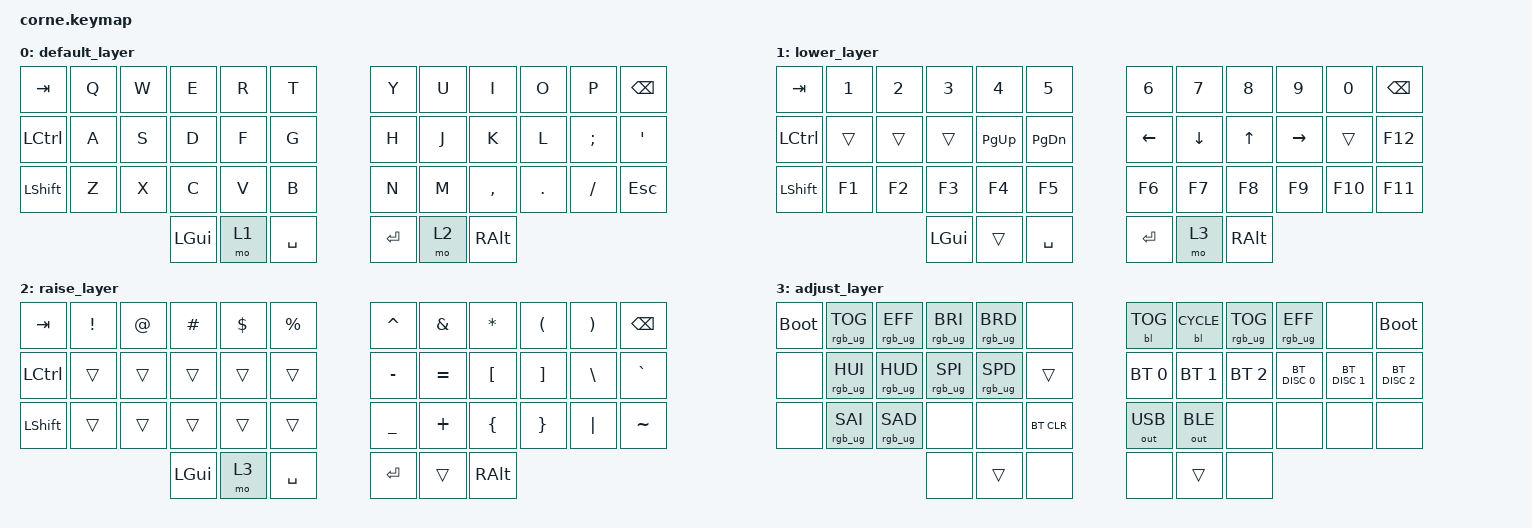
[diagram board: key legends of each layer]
#include <behaviors.dtsi>
#include <dt-bindings/zmk/backlight.h>
#include <dt-bindings/zmk/bt.h>
#include <dt-bindings/zmk/keys.h>
#include <dt-bindings/zmk/outputs.h>
#include <dt-bindings/zmk/rgb.h>

/* #include <dt-bindings/zmk/rgb.h> */  /* uncomment when WS2812B LEDs are installed */
/*
 * Layer index reference:
 *   0 = Default (QWERTY)
 *   1 = Lower   (numbers, arrows)
 *   2 = Raise   (symbols)
 *   3 = Adjust  (BT profiles, RGB, bootloader)
 *       → Reached by holding Lower + Raise simultaneously
 */

/ {
    keymap {
        compatible = "zmk,keymap";

        // ── Layer 0: QWERTY ────────────────────────────────────────

        default_layer {
            bindings = <
&kp TAB    &kp Q  &kp W  &kp E     &kp R  &kp T        &kp Y    &kp U  &kp I      &kp O    &kp P     &kp BSPC
&kp LCTRL  &kp A  &kp S  &kp D     &kp F  &kp G        &kp H    &kp J  &kp K      &kp L    &kp SEMI  &kp SQT
&kp LSHFT  &kp Z  &kp X  &kp C     &kp V  &kp B        &kp N    &kp M  &kp COMMA  &kp DOT  &kp FSLH  &kp ESC
                         &kp LGUI  &mo 1  &kp SPACE    &kp RET  &mo 2  &kp RALT
            >;
        };

        // ── Layer 1: Lower (numbers + arrows) ─────────────────────

        lower_layer {
            bindings = <
&kp TAB    &kp N1  &kp N2  &kp N3    &kp N4     &kp N5       &kp N6    &kp N7    &kp N8    &kp N9     &kp N0   &kp BSPC
&kp LCTRL  &trans  &trans  &trans    &kp PG_UP  &kp PG_DN    &kp LEFT  &kp DOWN  &kp UP    &kp RIGHT  &trans   &kp F12
&kp LSHFT  &kp F1  &kp F2  &kp F3    &kp F4     &kp F5       &kp F6    &kp F7    &kp F8    &kp F9     &kp F10  &kp F11
                           &kp LGUI  &trans     &kp SPACE    &kp RET   &mo 3     &kp RALT
            >;
        };

        // ── Layer 2: Raise (symbols) ───────────────────────────────

        raise_layer {
            bindings = <
&kp TAB    &kp EXCL  &kp AT  &kp HASH  &kp DLLR  &kp PRCNT    &kp CARET  &kp AMPS   &kp ASTRK  &kp LPAR  &kp RPAR  &kp BSPC
&kp LCTRL  &trans    &trans  &trans    &trans    &trans       &kp MINUS  &kp EQUAL  &kp LBKT   &kp RBKT  &kp BSLH  &kp GRAVE
&kp LSHFT  &trans    &trans  &trans    &trans    &trans       &kp UNDER  &kp PLUS   &kp LBRC   &kp RBRC  &kp PIPE  &kp TILDE
                             &kp LGUI  &mo 3     &kp SPACE    &kp RET    &trans     &kp RALT
            >;
        };

        // ── Layer 3: Adjust ────────────────────────────────────────
        //
        //  Top row  │ BOOT │ --- │ --- │ --- │ --- │ ---  ║  --- │ --- │ --- │ --- │ --- │ BOOT │
        //  Mid row  │ ---  │ --- │ --- │ --- │ --- │ ---  ║  BT0 │ BT1 │ BT2 │ --- │ --- │ ---  │
        //  Bot row  │ ---  │ --- │ --- │ --- │ --- │ CLR  ║  USB │ BLE │ --- │ --- │ --- │ ---  │
        //
        //  RGB bindings removed — re-add when WS2812B LEDs are installed
        //

        adjust_layer {
            bindings = <
&bootloader  &rgb_ug RGB_TOG  &rgb_ug RGB_EFF  &rgb_ug RGB_BRI  &rgb_ug RGB_BRD  &none         &bl BL_TOG    &bl BL_CYCLE  &rgb_ug RGB_TOG  &rgb_ug RGB_EFF  &none          &bootloader
&none        &rgb_ug RGB_HUI  &rgb_ug RGB_HUD  &rgb_ug RGB_SPI  &rgb_ug RGB_SPD  &trans        &bt BT_SEL 0  &bt BT_SEL 1  &bt BT_SEL 2     &bt BT_DISC 0    &bt BT_DISC 1  &bt BT_DISC 2
&none        &rgb_ug RGB_SAI  &rgb_ug RGB_SAD  &none            &none            &bt BT_CLR    &out OUT_USB  &out OUT_BLE  &none            &none            &none          &none
                                               &none            &trans           &none         &none         &trans        &none
            >;
        };
    };
};
